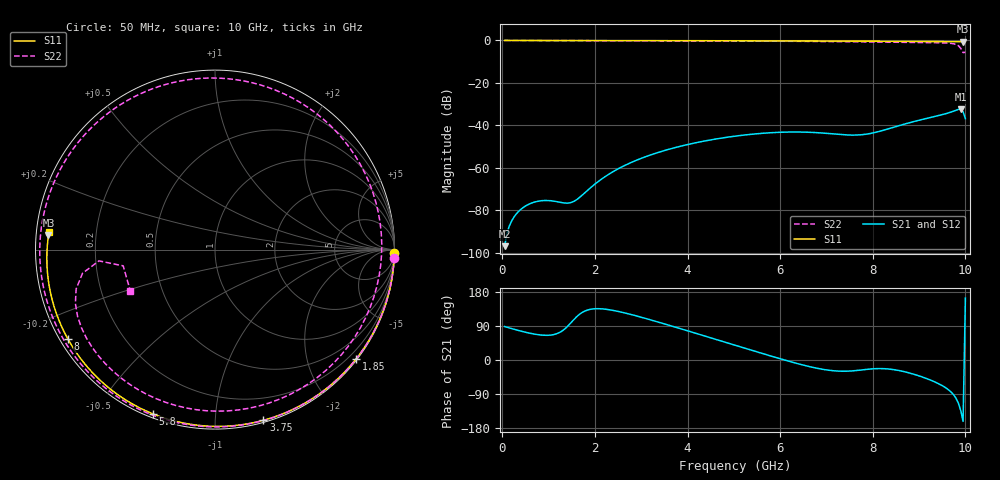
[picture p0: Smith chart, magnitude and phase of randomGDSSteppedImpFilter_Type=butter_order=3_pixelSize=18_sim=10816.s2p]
! freq	dB(S11)	phase(S11)	dB(S12)	phase(S12)
!  dB(S21)	phase(S21)	dB(S22)	phase(S22)
!S-par simulation data
#  GHz  S  DB  R 50
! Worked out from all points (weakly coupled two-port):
!   200 points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, 50 MHz to 10 GHz, reference 50 ohm
!   highest |S21| = -32.46 dB at 9.9 GHz (marker M1); lowest = -97.0 dB at 50 MHz (marker M2)
!   lowest |S11| = -0.6 dB at 9.95 GHz (marker M3), VSWR 28.12, Z = 1.78 + j2.21 ohm
!   |S11| at or under -10 dB: nowhere
!   |S22| runs from -5.7 to 0.0 dB; largest |S21 - S12| = 0
!   S11 on the Smith chart (normalised r, x): 50 MHz: open; 1.85 GHz: 0.03, -2.93; 3.75 GHz: 0.02, -1.32; 5.8 GHz: 0.02, -0.69; 8 GHz: 0.02, -0.28; 10 GHz: 0.04, +0.05
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0.05  -0.00 -1.0  -96.97 88.3  -96.97 88.3  -0.00 -2.6
0.95  -0.02 -19.6  -75.44 65.1  -75.44 65.1  -0.06 -47.9
1.45  -0.04 -29.7  -76.58 93.9  -76.58 93.9  -0.09 -71.4
1.75  -0.05 -35.7  -72.45 127.2  -72.45 127.2  -0.10 -84.8
1.85  -0.05 -37.7  -70.50 132.2  -70.50 132.2  -0.10 -89.2
2.5  -0.06 -50.5  -60.53 128.2  -60.53 128.2  -0.13 -116.2
3.4  -0.09 -67.7  -52.56 98.9  -52.56 98.9  -0.17 -150.7
3.75  -0.10 -74.2  -50.40 86.3  -50.40 86.3  -0.18 -163.6
4.4  -0.12 -86.0  -47.27 62.3  -47.27 62.3  -0.22 172.1
5.05  -0.15 -97.6  -45.04 38.1  -45.04 38.1  -0.27 146.6
5.8  -0.19 -110.7  -43.49 10.5  -43.49 10.5  -0.34 113.8
6.25  -0.22 -118.5  -43.16 -5.4  -43.16 -5.4  -0.39 91.3
6.7  -0.25 -126.2  -43.35 -19.3  -43.35 -19.3  -0.45 65.9
7.4  -0.31 -138.2  -44.49 -29.6  -44.49 -29.6  -0.58 20.1
8  -0.36 -148.7  -43.62 -23.3  -43.62 -23.3  -0.71 -24.3
8.35  -0.40 -154.9  -41.57 -23.9  -41.57 -23.9  -0.80 -51.2
8.75  -0.45 -162.1  -39.04 -32.9  -39.04 -32.9  -0.89 -81.7
9.15  -0.50 -169.6  -36.81 -48.4  -36.81 -48.4  -0.98 -111.5
9.7  -0.58 179.8  -33.68 -85.6  -33.68 -85.6  -1.40 -154.1
9.9  -0.61 175.9  -32.46 -133.4  -32.46 -133.4  -3.75 -174.4
9.95  -0.62 174.9  -33.64 -162.0  -33.64 -162.0  -5.69 -169.9
10  -0.62 173.9  -36.86 163.2  -36.86 163.2  -5.60 -154.2
